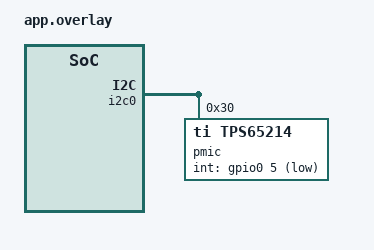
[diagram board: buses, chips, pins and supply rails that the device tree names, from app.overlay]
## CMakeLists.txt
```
# SPDX-License-Identifier: Apache-2.0

cmake_minimum_required(VERSION 3.20.0)
find_package(Zephyr REQUIRED HINTS $ENV{ZEPHYR_BASE})
project(mfd_tps6521x)

# the register emulator is shared with the regulator test
set(EMUL_DIR ${ZEPHYR_BASE}/tests/drivers/regulator/tps6521x/src)

target_sources(app PRIVATE src/main.c ${EMUL_DIR}/emul_tps6521x.c)
target_include_directories(app PRIVATE ${EMUL_DIR})
target_compile_definitions(app PRIVATE EMUL_TPS6521X_BOOT_FLAGS)

if(EMUL_PIN_IS_EN)
  target_compile_definitions(app PRIVATE EMUL_TPS6521X_PIN_IS_EN)
endif()
```

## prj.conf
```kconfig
CONFIG_ZTEST=y
CONFIG_I2C=y
CONFIG_EMUL=y
CONFIG_GPIO=y
CONFIG_INPUT=y
CONFIG_INPUT_MODE_SYNCHRONOUS=y
```

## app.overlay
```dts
/*
 * SPDX-License-Identifier: Apache-2.0
 */

#include <zephyr/dt-bindings/gpio/gpio.h>
#include <zephyr/dt-bindings/input/input-event-codes.h>

&i2c0 {
	status = "okay";

	pmic: pmic@30 {
		compatible = "ti,tps65214";
		reg = <0x30>;
		/* nINT is open-drain; the pull-up idles the emulated line high */
		int-gpios = <&gpio0 5 (GPIO_ACTIVE_LOW | GPIO_PULL_UP)>;

		pmic_gpio: gpio {
			compatible = "ti,tps6521x-gpio";
			gpio-controller;
			#gpio-cells = <2>;
		};

		power_button: power-button {
			compatible = "ti,tps6521x-power-button";
			zephyr,code = <INPUT_KEY_POWER>;
		};
	};
};
```

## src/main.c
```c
/*
 * SPDX-FileCopyrightText: Copyright The Zephyr Project Contributors
 * SPDX-License-Identifier: Apache-2.0
 *
 * Interrupt demux, power button and GPIO of the TPS65214/TPS65215 against
 * the register emulator. Expected behaviour is taken from SLVSHK7A and
 * SLVSHQ9.
 */

#include <zephyr/devicetree.h>
#include <zephyr/drivers/emul.h>
#include <zephyr/drivers/gpio.h>
#include <zephyr/drivers/mfd/tps6521x.h>
#include <zephyr/input/input.h>
#include <zephyr/ztest.h>

#include "emul_tps6521x.h"

#define PMIC_NODE   DT_NODELABEL(pmic)
#define IS_TPS65215 DT_NODE_HAS_COMPAT(PMIC_NODE, ti_tps65215)

#define REG_GENERAL_CONFIG 0x1eU
#define REG_MFP_1_CONFIG   0x1fU
#define REG_MFP_2_CONFIG   0x20U
#define REG_MASK_CONFIG    0x25U
#define REG_MFP_CTRL       0x29U
#define REG_INT_LDO_2      0x2cU
#define REG_INT_LDO_1      0x2dU
#define REG_INT_BUCK_3     0x2eU
#define REG_INT_BUCK_1_2   0x2fU
#define REG_INT_SYSTEM     0x30U
#define REG_INT_PB         0x33U

#define PB_FALL   BIT(0)
#define PB_RISE   BIT(1)
#define PB_STATUS BIT(2)

/* emulator defaults, see emul_tps6521x_init() */
#define GENERAL_CONFIG_DEFAULT (BIT(5) | BIT(1))
#define MFP_2_CONFIG_DEFAULT   (IS_TPS65215 ? 0x10 : 0x00)

#define PIN_GPO1 0U
#define PIN_GPO2 1U
#define PIN_GPIO 2U

/* longer than one pass, shorter than the 100 ms recheck */
#define SETTLE K_MSEC(20)

static const struct emul *emul = EMUL_DT_GET(PMIC_NODE);
static const struct device *const pmic = DEVICE_DT_GET(PMIC_NODE);
static const struct device *const pgpio = DEVICE_DT_GET(DT_NODELABEL(pmic_gpio));
static const struct device *const button = DEVICE_DT_GET(DT_NODELABEL(power_button));

struct hit {
	struct mfd_tps6521x_int_callback cb;
	const struct device *dev;
	int count;
	uint8_t value;
	/* raised from the handler on the first call */
	uint8_t raise_bits;
};

static struct input_event events[8];
static int n_events;

static void input_cb(struct input_event *evt, void *user_data)
{
	ARG_UNUSED(user_data);

	if (evt->type == INPUT_EV_KEY && n_events < ARRAY_SIZE(events)) {
		events[n_events] = *evt;
		n_events++;
	}
}
INPUT_CALLBACK_DEFINE(DEVICE_DT_GET(DT_NODELABEL(power_button)), input_cb, NULL);

static void hit_handler(const struct device *dev, struct mfd_tps6521x_int_callback *cb,
			uint8_t value)
{
	struct hit *h = CONTAINER_OF(cb, struct hit, cb);

	/* runs in the workqueue: record, assert in the test */
	h->dev = dev;
	h->count++;
	h->value = value;
	if (h->raise_bits != 0U && h->count == 1) {
		emul_tps6521x_raise(emul, h->cb.reg, h->raise_bits);
	}
}

static struct hit *registered[8];

static void hit_add(struct hit *h, uint8_t reg, uint8_t mask)
{
	*h = (struct hit){.cb = {.handler = hit_handler, .reg = reg, .mask = mask}};
	zassert_ok(mfd_tps6521x_add_int_callback(pmic, &h->cb));

	for (size_t i = 0; i < ARRAY_SIZE(registered); i++) {
		if (registered[i] == NULL) {
			registered[i] = h;
			return;
		}
	}
	zassert_unreachable("too many callbacks");
}

static void hit_remove(struct hit *h)
{
	zassert_ok(mfd_tps6521x_remove_int_callback(pmic, &h->cb));

	for (size_t i = 0; i < ARRAY_SIZE(registered); i++) {
		if (registered[i] == h) {
			registered[i] = NULL;
		}
	}
}

static void check_locked(void)
{
	struct emul_tps6521x_stats stats;

	emul_tps6521x_stats(emul, &stats);
	zassert_equal(stats.blocked_writes, 0, "a protected write hit a locked register");
	if (!IS_TPS65215) {
		zassert_true(emul_tps6521x_locked(emul), "registers left unlocked");
	}
}

/* state seen right after boot, before any test touched the emulator */
static struct {
	uint8_t int_pb;
	uint8_t int_buck_3;
	uint8_t mask_config;
	bool nint;
	int events;
} boot;

static void *suite_setup(void)
{
	boot.int_pb = emul_tps6521x_get(emul, REG_INT_PB);
	boot.int_buck_3 = emul_tps6521x_get(emul, REG_INT_BUCK_3);
	boot.mask_config = emul_tps6521x_get(emul, REG_MASK_CONFIG);
	boot.nint = emul_tps6521x_nint_asserted(emul);
	boot.events = n_events;

	return NULL;
}

static void before(void *fixture)
{
	ARG_UNUSED(fixture);

	emul_tps6521x_set(emul, REG_GENERAL_CONFIG, GENERAL_CONFIG_DEFAULT);
	emul_tps6521x_set(emul, REG_MFP_1_CONFIG, 0x00);
	emul_tps6521x_set(emul, REG_MFP_2_CONFIG, MFP_2_CONFIG_DEFAULT);
	emul_tps6521x_set(emul, REG_MFP_CTRL, 0x00);
	emul_tps6521x_stick(emul, REG_INT_BUCK_1_2, 0);
	emul_tps6521x_pb_hold(emul, false);
	n_events = 0;
}

static void after(void *fixture)
{
	ARG_UNUSED(fixture);

	for (size_t i = 0; i < ARRAY_SIZE(registered); i++) {
		if (registered[i] != NULL) {
			hit_remove(registered[i]);
		}
	}
	emul_tps6521x_int_reset(emul);
	emul_tps6521x_set(emul, REG_MASK_CONFIG, boot.mask_config);
}

ZTEST_SUITE(mfd_tps6521x, NULL, suite_setup, before, after, NULL);

/* Flags set before boot hold nINT low without an edge (7.3.10): init clears them. */
ZTEST(mfd_tps6521x, test_boot_flags_cleared)
{
	zassert_equal(boot.int_pb & (PB_FALL | PB_RISE), 0, "stale INT_PB edges not cleared");
	zassert_equal(boot.int_pb & PB_STATUS, PB_STATUS, "read-only PB status changed");
	zassert_equal(boot.int_buck_3, 0, "stale INT_BUCK_3 flag not cleared");
	zassert_false(boot.nint, "nINT still asserted after init");
	zassert_equal(boot.events, 0, "the power-on press was reported");
}

ZTEST(mfd_tps6521x, test_callback_validation)
{
	struct mfd_tps6521x_int_callback cb = {.reg = REG_INT_SYSTEM, .mask = 0x01};

	zassert_equal(mfd_tps6521x_add_int_callback(pmic, &cb), -EINVAL, "no handler accepted");
	zassert_equal(mfd_tps6521x_remove_int_callback(pmic, &cb), -EINVAL,
		      "unregistered callback removed");
}

ZTEST(mfd_tps6521x, test_dispatch_and_clear)
{
	static struct hit a;
	static struct hit other_bit;
	static struct hit other_reg;

	hit_add(&a, REG_INT_BUCK_1_2, BIT(1));
	hit_add(&other_bit, REG_INT_BUCK_1_2, BIT(7));
	hit_add(&other_reg, REG_INT_SYSTEM, 0xff);

	emul_tps6521x_raise(emul, REG_INT_BUCK_1_2, BIT(1));
	k_sleep(SETTLE);

	zassert_equal(a.count, 1);
	zassert_equal(a.dev, pmic);
	zassert_equal(a.value, BIT(1));
	zassert_equal(other_bit.count, 0, "callback for another bit ran");
	zassert_equal(other_reg.count, 0, "callback for another register ran");
	zassert_equal(emul_tps6521x_get(emul, REG_INT_BUCK_1_2), 0, "flag not cleared");
	zassert_false(emul_tps6521x_nint_asserted(emul));
	check_locked();

	hit_remove(&a);
	emul_tps6521x_raise(emul, REG_INT_BUCK_1_2, BIT(1));
	k_sleep(SETTLE);
	zassert_equal(a.count, 1, "removed callback ran");
	zassert_equal(emul_tps6521x_get(emul, REG_INT_BUCK_1_2), 0);

	hit_remove(&other_bit);
	hit_remove(&other_reg);
}

/*
 * INT_SOURCE bit 6 is INT_LDO_2 (0x2c) on TPS65215 and reserved on TPS65214,
 * where bit 5 points at INT_LDO_1_2 (0x2d) for both LDOs.
 */
ZTEST(mfd_tps6521x, test_ldo_register_map)
{
	static struct hit ldo2;
	static struct hit ldo1;
	uint8_t reg = IS_TPS65215 ? REG_INT_LDO_2 : REG_INT_LDO_1;
	/* LDO2 short to ground: 0x2c bit 0 on TPS65215, 0x2d bit 3 on TPS65214 */
	uint8_t bit = IS_TPS65215 ? BIT(0) : BIT(3);

	hit_add(&ldo2, REG_INT_LDO_2, 0xff);
	hit_add(&ldo1, REG_INT_LDO_1, 0xff);

	emul_tps6521x_raise(emul, reg, bit);
	k_sleep(SETTLE);

	zassert_equal(IS_TPS65215 ? ldo2.count : ldo1.count, 1, "LDO2 fault not dispatched");
	zassert_equal(IS_TPS65215 ? ldo1.count : ldo2.count, 0, "dispatched to the wrong register");
	zassert_equal(emul_tps6521x_get(emul, reg), 0, "flag not cleared");
	zassert_false(emul_tps6521x_nint_asserted(emul));

	if (IS_TPS65215) {
		/* bit 5 points at INT_LDO_1 (0x2d), LDO1 short to ground */
		emul_tps6521x_raise(emul, REG_INT_LDO_1, BIT(0));
		k_sleep(SETTLE);
		zassert_equal(ldo1.count, 1, "LDO1 fault not dispatched");
		zassert_equal(ldo2.count, 1, "LDO1 fault dispatched to INT_LDO_2");
		zassert_equal(emul_tps6521x_get(emul, REG_INT_LDO_1), 0);
	}

	hit_remove(&ldo2);
	hit_remove(&ldo1);
}

/* A flag nobody watches is cleared too, or nINT would stay low (7.3.10). */
ZTEST(mfd_tps6521x, test_unwatched_flag_cleared)
{
	emul_tps6521x_raise(emul, REG_INT_SYSTEM, BIT(7));
	k_sleep(SETTLE);

	zassert_equal(emul_tps6521x_get(emul, REG_INT_SYSTEM), 0);
	zassert_false(emul_tps6521x_nint_asserted(emul));
	check_locked();
}

/* An event during a handler comes after the clear: nINT falls again. */
ZTEST(mfd_tps6521x, test_event_during_handler)
{
	static struct hit h;

	hit_add(&h, REG_INT_BUCK_3, 0x0f);
	h.raise_bits = BIT(1);

	emul_tps6521x_raise(emul, REG_INT_BUCK_3, BIT(0));
	k_sleep(SETTLE);

	zassert_equal(h.count, 2, "second event lost");
	zassert_equal(h.value, BIT(1));
	zassert_false(emul_tps6521x_nint_asserted(emul));

	hit_remove(&h);
}

/*
 * A flag set between the read and the clear must survive the clear, and is
 * found again because nINT stays low.
 */
ZTEST(mfd_tps6521x, test_flag_after_read_survives)
{
	static struct hit h;

	hit_add(&h, REG_INT_BUCK_1_2, 0xff);
	emul_tps6521x_raise_on_read(emul, REG_INT_BUCK_1_2, BIT(4));

	emul_tps6521x_raise(emul, REG_INT_BUCK_1_2, BIT(0));
	k_sleep(SETTLE);

	zassert_equal(h.count, 1);
	zassert_equal(h.value, BIT(0));
	zassert_equal(emul_tps6521x_get(emul, REG_INT_BUCK_1_2), BIT(4),
		      "a flag that was not read got cleared");
	zassert_true(emul_tps6521x_nint_asserted(emul));

	k_sleep(K_MSEC(150));
	zassert_equal(h.count, 2, "pending flag not picked up again");
	zassert_equal(h.value, BIT(4));
	zassert_false(emul_tps6521x_nint_asserted(emul));

	hit_remove(&h);
}

/* A persisting fault keeps its flag and nINT low (7.3.10): recheck, do not spin. */
ZTEST(mfd_tps6521x, test_persistent_fault)
{
	static struct hit h;
	int count;

	hit_add(&h, REG_INT_BUCK_1_2, BIT(2));
	emul_tps6521x_stick(emul, REG_INT_BUCK_1_2, BIT(2));
	emul_tps6521x_raise(emul, REG_INT_BUCK_1_2, BIT(2));

	/* passes at about 0, 100, 200 and 300 ms */
	k_sleep(K_MSEC(350));
	zassert_within(h.count, 4, 1, "%d passes in 350 ms", h.count);

	emul_tps6521x_stick(emul, REG_INT_BUCK_1_2, 0);
	k_sleep(K_MSEC(150));
	zassert_false(emul_tps6521x_nint_asserted(emul));
	count = h.count;
	k_sleep(K_MSEC(300));
	zassert_equal(h.count, count, "passes go on after the fault went away");

	hit_remove(&h);
}

#ifndef EMUL_TPS6521X_PIN_IS_EN

ZTEST(mfd_tps6521x, test_button_unmasks_pb)
{
	zassert_true(device_is_ready(button));
	zassert_equal(boot.mask_config, BIT(5), "MASK_CONFIG 0x%02x", boot.mask_config);
	check_locked();
}

ZTEST(mfd_tps6521x, test_button_press_release)
{
	emul_tps6521x_pb_hold(emul, true);
	emul_tps6521x_raise(emul, REG_INT_PB, PB_FALL);
	k_sleep(SETTLE);

	zassert_equal(n_events, 1);
	zassert_equal(events[0].code, INPUT_KEY_POWER);
	zassert_equal(events[0].value, 1, "press not reported as 1");
	zassert_true(events[0].sync);
	zassert_equal(emul_tps6521x_get(emul, REG_INT_PB), 0, "edge not cleared");

	emul_tps6521x_pb_hold(emul, false);
	emul_tps6521x_raise(emul, REG_INT_PB, PB_RISE);
	k_sleep(SETTLE);

	zassert_equal(n_events, 2);
	zassert_equal(events[1].code, INPUT_KEY_POWER);
	zassert_equal(events[1].value, 0, "release not reported as 0");
	zassert_equal(emul_tps6521x_get(emul, REG_INT_PB), PB_STATUS);
	zassert_false(emul_tps6521x_nint_asserted(emul));
	check_locked();
}

/* Both edges in one read: the real-time status says which was last. */
ZTEST(mfd_tps6521x, test_button_both_edges)
{
	/* released now: press, then release */
	emul_tps6521x_pb_hold(emul, false);
	emul_tps6521x_raise(emul, REG_INT_PB, PB_FALL | PB_RISE);
	k_sleep(SETTLE);

	zassert_equal(n_events, 2);
	zassert_equal(events[0].value, 1);
	zassert_equal(events[1].value, 0);

	/* held now: release, then press */
	emul_tps6521x_pb_hold(emul, true);
	emul_tps6521x_raise(emul, REG_INT_PB, PB_FALL | PB_RISE);
	k_sleep(SETTLE);

	zassert_equal(n_events, 4);
	zassert_equal(events[2].value, 0);
	zassert_equal(events[3].value, 1);
}

#else /* EMUL_TPS6521X_PIN_IS_EN */

ZTEST(mfd_tps6521x, test_button_refused_on_en_pin)
{
	zassert_false(device_is_ready(button));
	zassert_equal(boot.mask_config, BIT(7) | BIT(5), "MASK_CONFIG changed");
}

#endif /* EMUL_TPS6521X_PIN_IS_EN */

/* Runs first among the GPIO tests: nothing configured yet, nothing written. */
ZTEST(mfd_tps6521x, test_gpio_0_unconfigured_not_written)
{
	zassert_ok(gpio_port_set_masked_raw(pgpio, 0x7, 0x7));
	zassert_equal(emul_tps6521x_get(emul, REG_GENERAL_CONFIG), GENERAL_CONFIG_DEFAULT,
		      "pins written before being configured");
}

ZTEST(mfd_tps6521x, test_gpio_gpo1)
{
	uint8_t other = GENERAL_CONFIG_DEFAULT & ~BIT(PIN_GPO1);

	zassert_ok(gpio_pin_configure(pgpio, PIN_GPO1, GPIO_OUTPUT_HIGH | GPIO_OPEN_DRAIN));
	zassert_equal(emul_tps6521x_get(emul, REG_GENERAL_CONFIG), other | BIT(PIN_GPO1));
	zassert_equal(gpio_pin_get_raw(pgpio, PIN_GPO1), 1);

	zassert_ok(gpio_pin_set_raw(pgpio, PIN_GPO1, 0));
	zassert_equal(emul_tps6521x_get(emul, REG_GENERAL_CONFIG), other);
	zassert_equal(gpio_pin_get_raw(pgpio, PIN_GPO1), 0);

	zassert_ok(gpio_pin_toggle(pgpio, PIN_GPO1));
	zassert_equal(emul_tps6521x_get(emul, REG_GENERAL_CONFIG), other | BIT(PIN_GPO1));
	check_locked();
}

ZTEST(mfd_tps6521x, test_gpio_flags_rejected)
{
	struct emul_tps6521x_stats before;
	struct emul_tps6521x_stats after;

	emul_tps6521x_stats(emul, &before);
	zassert_equal(gpio_pin_configure(pgpio, PIN_GPO1, GPIO_OUTPUT_LOW), -ENOTSUP,
		      "push-pull accepted");
	zassert_equal(gpio_pin_configure(pgpio, PIN_GPO1, GPIO_OUTPUT_LOW | GPIO_OPEN_SOURCE),
		      -ENOTSUP, "open-source accepted");
	zassert_equal(gpio_pin_configure(pgpio, PIN_GPO1,
					 GPIO_OUTPUT_LOW | GPIO_OPEN_DRAIN | GPIO_PULL_UP),
		      -ENOTSUP, "pull-up accepted");
	zassert_equal(gpio_pin_configure(pgpio, PIN_GPO1, GPIO_INPUT), -ENOTSUP);
	emul_tps6521x_stats(emul, &after);
	zassert_equal(after.writes, before.writes, "rejected configuration wrote");
}

/* Pin 1 is GPO2 on TPS65215; on TPS65214 bit 1 is GPIO_CONFIG and pin 1 does not exist. */
ZTEST(mfd_tps6521x, test_gpio_gpo2)
{
	if (IS_TPS65215) {
		zassert_ok(gpio_pin_configure(pgpio, PIN_GPO2, GPIO_OUTPUT_LOW | GPIO_OPEN_DRAIN));
		zassert_equal(emul_tps6521x_get(emul, REG_GENERAL_CONFIG), BIT(5));
		zassert_ok(gpio_pin_set_raw(pgpio, PIN_GPO2, 1));
		zassert_equal(emul_tps6521x_get(emul, REG_GENERAL_CONFIG), BIT(5) | BIT(1));
		return;
	}

	zassert_equal(gpio_pin_configure(pgpio, PIN_GPO2, GPIO_OUTPUT_LOW | GPIO_OPEN_DRAIN),
		      -EINVAL);

	zassert_ok(gpio_pin_configure(pgpio, PIN_GPO1, GPIO_OUTPUT_LOW | GPIO_OPEN_DRAIN));
	zassert_ok(gpio_pin_configure(pgpio, PIN_GPIO, GPIO_OUTPUT_LOW | GPIO_OPEN_DRAIN));
	zassert_ok(gpio_port_set_masked_raw(pgpio, 0x7, 0x0));
	zassert_equal(emul_tps6521x_get(emul, REG_GENERAL_CONFIG), BIT(5) | BIT(1),
		      "GPIO_CONFIG changed by a pin write");
	check_locked();
}

ZTEST(mfd_tps6521x, test_gpio_keeps_level)
{
	emul_tps6521x_set(emul, REG_GENERAL_CONFIG, GENERAL_CONFIG_DEFAULT | BIT(PIN_GPO1));
	zassert_ok(gpio_pin_configure(pgpio, PIN_GPO1, GPIO_OUTPUT | GPIO_OPEN_DRAIN));
	zassert_equal(emul_tps6521x_get(emul, REG_GENERAL_CONFIG),
		      GENERAL_CONFIG_DEFAULT | BIT(PIN_GPO1));
}

/* The GPIO pin reads its real-time level from MFP_CTRL GPIO_STATUS. */
ZTEST(mfd_tps6521x, test_gpio_pin)
{
	if (IS_TPS65215) {
		/* single-device mode: an output, readable */
		zassert_equal(gpio_pin_configure(pgpio, PIN_GPIO, GPIO_INPUT), -ENOTSUP);
		zassert_ok(gpio_pin_configure(pgpio, PIN_GPIO,
					      GPIO_INPUT | GPIO_OUTPUT_HIGH | GPIO_OPEN_DRAIN));
		zassert_equal(emul_tps6521x_get(emul, REG_GENERAL_CONFIG),
			      GENERAL_CONFIG_DEFAULT | BIT(PIN_GPIO));
	} else {
		/* GPIO_CONFIG polarity is ambiguous in SLVSHK7A: never written */
		zassert_ok(gpio_pin_configure(pgpio, PIN_GPIO, GPIO_INPUT));
		zassert_equal(emul_tps6521x_get(emul, REG_GENERAL_CONFIG), GENERAL_CONFIG_DEFAULT,
			      "GPIO_CONFIG written");
	}

	emul_tps6521x_set(emul, REG_MFP_CTRL, BIT(4));
	zassert_equal(gpio_pin_get_raw(pgpio, PIN_GPIO), 1);
	emul_tps6521x_set(emul, REG_MFP_CTRL, (uint8_t)~BIT(4));
	zassert_equal(gpio_pin_get_raw(pgpio, PIN_GPIO), 0, "bits other than GPIO_STATUS read");

	if (!IS_TPS65215) {
		/* output: only GPIO_EN changes */
		zassert_ok(gpio_pin_configure(pgpio, PIN_GPIO, GPIO_OUTPUT_HIGH | GPIO_OPEN_DRAIN));
		zassert_equal(emul_tps6521x_get(emul, REG_GENERAL_CONFIG),
			      BIT(5) | BIT(1) | BIT(2));
	}
	check_locked();
}

ZTEST(mfd_tps6521x, test_gpio_nvm_direction)
{
	struct emul_tps6521x_stats before;
	struct emul_tps6521x_stats after;

	if (IS_TPS65215) {
		ztest_test_skip();
	}

	emul_tps6521x_set(emul, REG_GENERAL_CONFIG, BIT(5));
	emul_tps6521x_stats(emul, &before);
	zassert_equal(gpio_pin_configure(pgpio, PIN_GPIO, GPIO_OUTPUT_HIGH | GPIO_OPEN_DRAIN),
		      -ENOTSUP, "NVM input driven as output");
	zassert_ok(gpio_pin_configure(pgpio, PIN_GPIO, GPIO_INPUT));
	emul_tps6521x_stats(emul, &after);
	zassert_equal(after.writes, before.writes, "input-configured pin written");
	zassert_equal(emul_tps6521x_get(emul, REG_GENERAL_CONFIG), BIT(5));

	emul_tps6521x_set(emul, REG_GENERAL_CONFIG, BIT(5) | BIT(1));
	zassert_ok(gpio_pin_configure(pgpio, PIN_GPIO, GPIO_OUTPUT_HIGH | GPIO_OPEN_DRAIN));
	zassert_equal(emul_tps6521x_get(emul, REG_GENERAL_CONFIG), BIT(5) | BIT(1) | BIT(2));
	check_locked();
}

ZTEST(mfd_tps6521x, test_gpio_function_taken)
{
	struct emul_tps6521x_stats before;
	struct emul_tps6521x_stats after;

	/* TPS65214: GPIO_VSEL_CONFIG = VSEL; TPS65215: MULTI_DEVICE_ENABLE */
	emul_tps6521x_set(emul, REG_MFP_1_CONFIG, BIT(3));
	/* TPS65214: GPO_nWAKEUP_CONFIG = nWAKEUP; TPS65215: MODE_RESET_CONFIG */
	emul_tps6521x_set(emul, REG_MFP_2_CONFIG, MFP_2_CONFIG_DEFAULT | BIT(2));

	emul_tps6521x_stats(emul, &before);
	zassert_equal(gpio_pin_configure(pgpio, PIN_GPIO, GPIO_OUTPUT_LOW | GPIO_OPEN_DRAIN),
		      -ENOTSUP, "GPIO pin driven although taken");
	if (IS_TPS65215) {
		zassert_ok(gpio_pin_configure(pgpio, PIN_GPIO, GPIO_INPUT));
		/* MODE_RESET_CONFIG has nothing to do with GPO1 */
		zassert_ok(gpio_pin_configure(pgpio, PIN_GPO1, GPIO_OUTPUT | GPIO_OPEN_DRAIN));
	} else {
		zassert_equal(gpio_pin_configure(pgpio, PIN_GPIO, GPIO_INPUT), -ENOTSUP,
			      "VSEL pin configured");
		zassert_equal(
			gpio_pin_configure(pgpio, PIN_GPO1, GPIO_OUTPUT_LOW | GPIO_OPEN_DRAIN),
			-ENOTSUP, "nWAKEUP pin driven");
	}
	emul_tps6521x_stats(emul, &after);
	zassert_equal(after.writes, before.writes, "taken pin written");
	zassert_equal(emul_tps6521x_get(emul, REG_GENERAL_CONFIG), GENERAL_CONFIG_DEFAULT);
}
```
